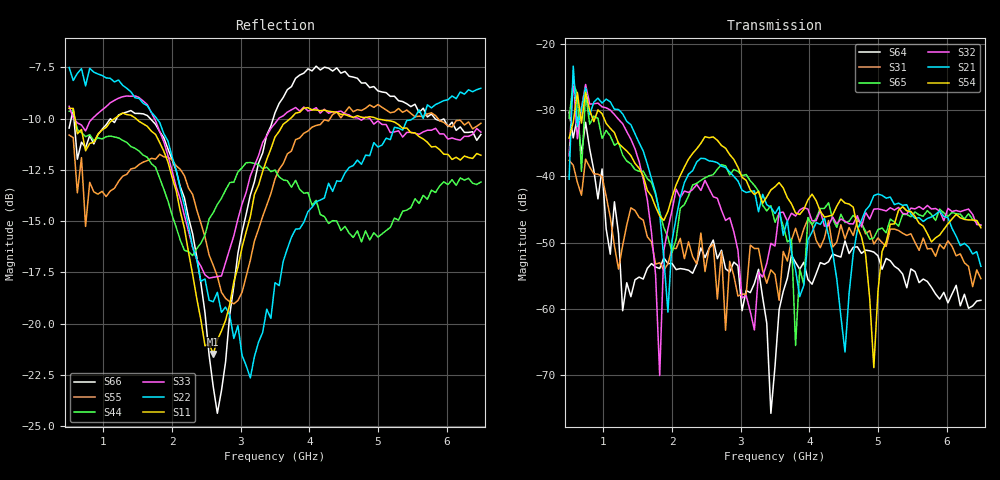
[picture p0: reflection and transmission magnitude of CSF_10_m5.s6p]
!Keysight Technologies,M9804A,MY58100912,A.14.10.03
!Date: Thursday, April 27, 2023 10:28:33
!Correction: S11(C  6-Port  )
!S12(C  6-Port  )
!S13(C  6-Port  )
!S14(C  6-Port  )
!S15(C  6-Port  )
!S16(C  6-Port  )
!S21(C  6-Port  )
!S22(C  6-Port  )
!S23(C  6-Port  )
!S24(C  6-Port  )
!S25(C  6-Port  )
!S26(C  6-Port  )
!S31(C  6-Port  )
!S32(C  6-Port  )
!S33(C  6-Port  )
!S34(C  6-Port  )
!S35(C  6-Port  )
!S36(C  6-Port  )
!S41(C  6-Port  )
!S42(C  6-Port  )
!S43(C  6-Port  )
!S44(C  6-Port  )
!S45(C  6-Port  )
!S46(C  6-Port  )
!S51(C  6-Port  )
!S52(C  6-Port  )
!S53(C  6-Port  )
!S54(C  6-Port  )
!S55(C  6-Port  )
!S56(C  6-Port  )
!S61(C  6-Port  )
!S62(C  6-Port  )
!S63(C  6-Port  )
!S64(C  6-Port  )
!S65(C  6-Port  )
!S66(C  6-Port  )
!S6P File: Measurement: :
# Hz S  RI  R 50
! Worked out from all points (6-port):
!   101 points, 500 MHz to 6.5 GHz, reference 50 ohm
!   strongest paths, dB at 500 MHz, 2 GHz, 3.5 GHz, 5 GHz, 6.5 GHz:
!     S54: -34.2, -43.1, -41.6, -57.4, -47.8
!     S21: -40.4, -49.7, -45.6, -42.7, -53.6
!     S32: -36.9, -45.1, -50.5, -44.9, -47.3
!     S65: -31.2, -51.5, -46.9, -48.0, -47.4
!     S31: -37.6, -50.9, -54.8, -49.3, -55.4
!     S64: -30.3, -53.2, -68.7, -52.0, -58.7
!   lowest |S11| = -21.5 dB at 2.6 GHz (marker M1), VSWR 1.18, Z = 42.5 + j1.98 ohm
!   |S11| at or under -10 dB: 584.2 MHz to 1.162 GHz (577.7 MHz wide, 66.2 % of centre); 1.473 GHz to 3.722 GHz (2.249 GHz wide, 86.6 % of centre); 4.984 GHz to end of sweep
